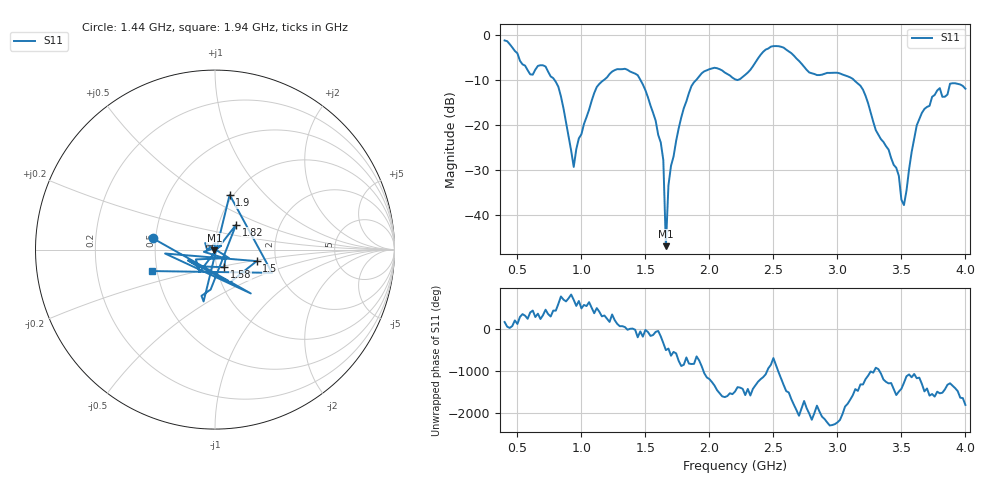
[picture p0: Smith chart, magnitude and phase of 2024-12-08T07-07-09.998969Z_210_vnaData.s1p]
!Created with skrf (http://scikit-rf.org).
# Hz S RI R 50.0
!freq ReS11 ImS11
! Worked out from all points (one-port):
!   181 points, 400 MHz to 4 GHz, reference 50 ohm
!   lowest |S11| = -47.0 dB at 1.66 GHz (marker M1), VSWR 1.01, Z = 49.7 - j0.308 ohm
!   |S11| at or under -10 dB: 787.7 MHz to 1.18 GHz (392.4 MHz wide, 39.9 % of centre); 1.459 GHz to 1.9 GHz (440.5 MHz wide, 26.2 % of centre); 3.126 GHz to end of sweep (the widest 3 of 4)
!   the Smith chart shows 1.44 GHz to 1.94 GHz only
!   S11 on the Smith chart (normalised r, x): 1.44 GHz: 0.48, +0.07; 1.5 GHz: 1.59, -0.22; 1.58 GHz: 1.09, -0.22; 1.82 GHz: 1.21, +0.35; 1.9 GHz: 0.96, +0.65; 1.94 GHz: 0.47, -0.13
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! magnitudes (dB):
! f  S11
! 400 MHz  -1.3
! 600 MHz  -8.8
! 720 MHz  -7.1
! 860 MHz  -16.4
! 940 MHz  -29.4
! 1.12 GHz  -11.6
! 1.3 GHz  -7.7
! 1.44 GHz  -9.0
! 1.5 GHz  -12.4
! 1.58 GHz  -19.1
! 1.64 GHz  -27.9
! 1.66 GHz  -47.0
! 1.68 GHz  -33.5
! 1.76 GHz  -20.8
! 1.82 GHz  -14.8
! 1.9 GHz  -10.0
! 1.94 GHz  -8.6
! 2.2 GHz  -9.9
! 2.48 GHz  -2.7
! 2.66 GHz  -4.7
! 3.1 GHz  -9.5
! 3.2 GHz  -12.2
! 3.46 GHz  -29.6
! 3.52 GHz  -37.9
! 3.56 GHz  -29.9
! 3.62 GHz  -20.2
! 3.74 GHz  -13.8
! 4 GHz  -12.0
